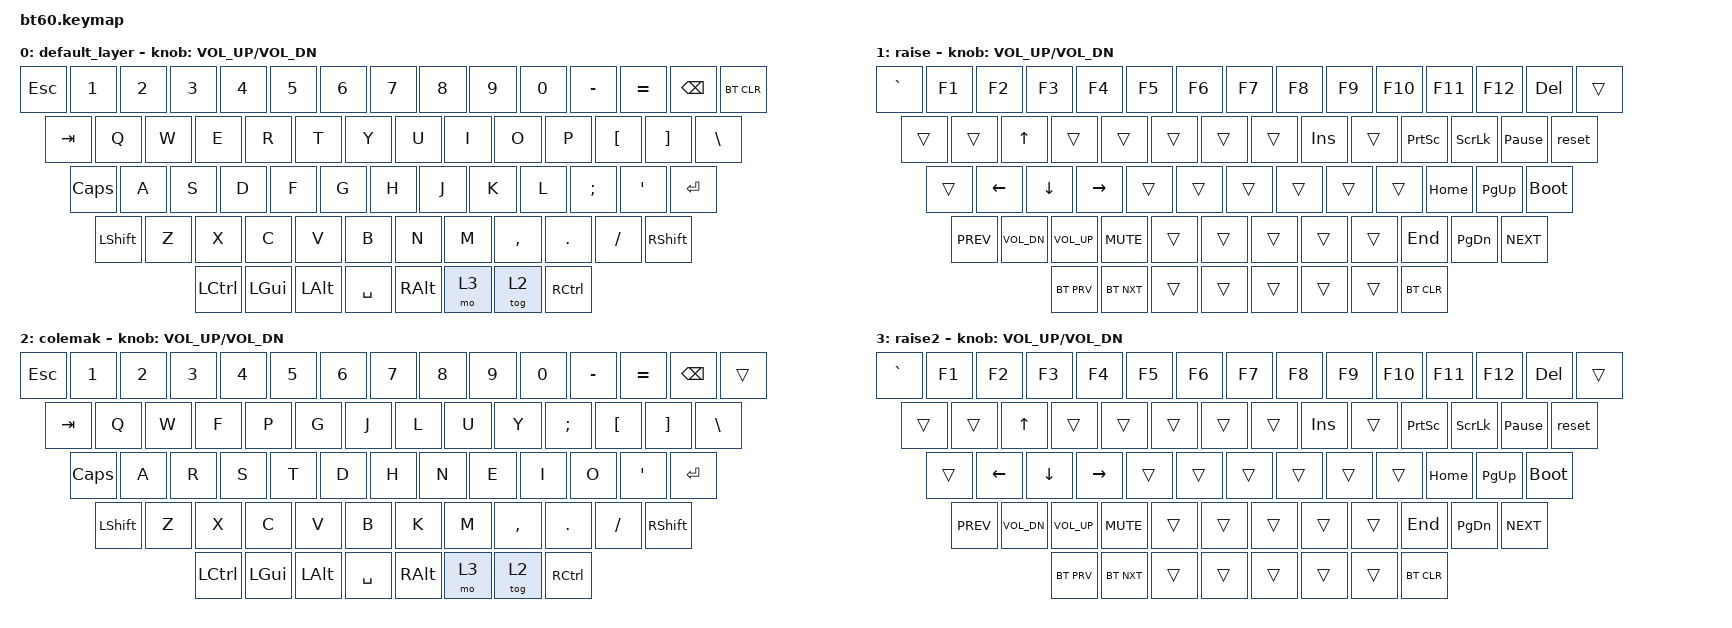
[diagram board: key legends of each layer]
#include <behaviors.dtsi>
#include <dt-bindings/zmk/keys.h>
#include <dt-bindings/zmk/bt.h>

/ {
	keymap {
		compatible = "zmk,keymap";

		default_layer {
			bindings = <
				&kp ESC &kp N1 &kp N2 &kp N3 &kp N4 &kp N5 &kp N6 &kp N7 &kp  N8   &kp  N9 &kp  N0  &kp MINUS &kp EQUAL &kp BSPC &bt BT_CLR
				&kp TAB  &kp Q  &kp W  &kp E  &kp R  &kp T  &kp Y  &kp U  &kp  I    &kp  O  &kp  P   &kp LBKT &kp RBKT  &kp BSLH
				&kp CLCK  &kp A  &kp S  &kp D  &kp F  &kp G  &kp H  &kp J  &kp  K    &kp  L  &kp SEMI &kp SQT           &kp RET
				&kp LSHFT  &kp Z  &kp X  &kp C  &kp V  &kp B  &kp N  &kp M  &kp COMMA &kp DOT &kp FSLH             &kp RSHFT
				&kp LCTRL &kp LGUI &kp LALT            &kp SPACE                          &kp RALT  &mo 3  &tog 2  &kp RCTRL
			>;
			sensor-bindings = <&inc_dec_kp C_VOL_UP C_VOL_DN>;
		};
		raise {
			bindings = <
				&kp GRAVE &kp F1 &kp F2 &kp F3 &kp F4 &kp F5 &kp F6 &kp F7 &kp  F8   &kp  F9 &kp  F10  &kp F11 &kp F12   &kp DEL &trans
				&trans &trans &kp UP &trans &trans &trans &trans &trans &kp INS &trans &kp PSCRN &kp SLCK &kp PAUSE_BREAK &reset
				&trans    &kp LEFT &kp DOWN &kp RIGHT &trans &trans &trans &trans &trans &trans &kp HOME  &kp PG_UP   &bootloader
				&kp C_PREV &kp C_VOL_DN &kp C_VOL_UP &kp C_MUTE &trans &trans &trans &trans &trans &kp END &kp PG_DN  &kp C_NEXT
				&bt BT_PRV &bt BT_NXT  &trans              &trans                            &trans   &trans   &trans &bt BT_CLR
			>;
			sensor-bindings = <&inc_dec_kp C_VOL_UP C_VOL_DN>;
		};
		colemak {
			bindings = <
				&kp ESC &kp N1 &kp N2 &kp N3 &kp N4 &kp N5 &kp N6 &kp N7 &kp  N8   &kp  N9 &kp  N0  &kp MINUS &kp EQUAL &kp BSPC &trans
				&kp TAB  &kp Q  &kp W  &kp F  &kp P  &kp G  &kp J  &kp L  &kp  U    &kp  Y  &kp  SEMI   &kp LBKT &kp RBKT  &kp BSLH
				&kp CLCK  &kp A  &kp R  &kp S  &kp T  &kp D  &kp H  &kp N  &kp  E    &kp  I  &kp O &kp SQT           &kp RET
				&kp LSHFT  &kp Z  &kp X  &kp C  &kp V  &kp B  &kp K  &kp M  &kp COMMA &kp DOT &kp FSLH             &kp RSHFT
				&kp LCTRL &kp LGUI &kp LALT            &kp SPACE                          &kp RALT &mo 3  &tog 2  &kp RCTRL
			>;
			sensor-bindings = <&inc_dec_kp C_VOL_UP C_VOL_DN>;
		};
		raise2 {
			bindings = <
				&kp GRAVE &kp F1 &kp F2 &kp F3 &kp F4 &kp F5 &kp F6 &kp F7 &kp  F8   &kp  F9 &kp  F10  &kp F11 &kp F12   &kp DEL &trans
				&trans &trans &kp UP &trans &trans &trans &trans &trans &kp INS &trans &kp PSCRN &kp SLCK &kp PAUSE_BREAK &reset
				&trans    &kp LEFT &kp DOWN &kp RIGHT &trans &trans &trans &trans &trans &trans &kp HOME  &kp PG_UP   &bootloader
				&kp C_PREV &kp C_VOL_DN &kp C_VOL_UP &kp C_MUTE &trans &trans &trans &trans &trans &kp END &kp PG_DN  &kp C_NEXT
				&bt BT_PRV &bt BT_NXT  &trans              &trans                            &trans   &trans   &trans &bt BT_CLR
			>;
			sensor-bindings = <&inc_dec_kp C_VOL_UP C_VOL_DN>;
		};
	};
};
